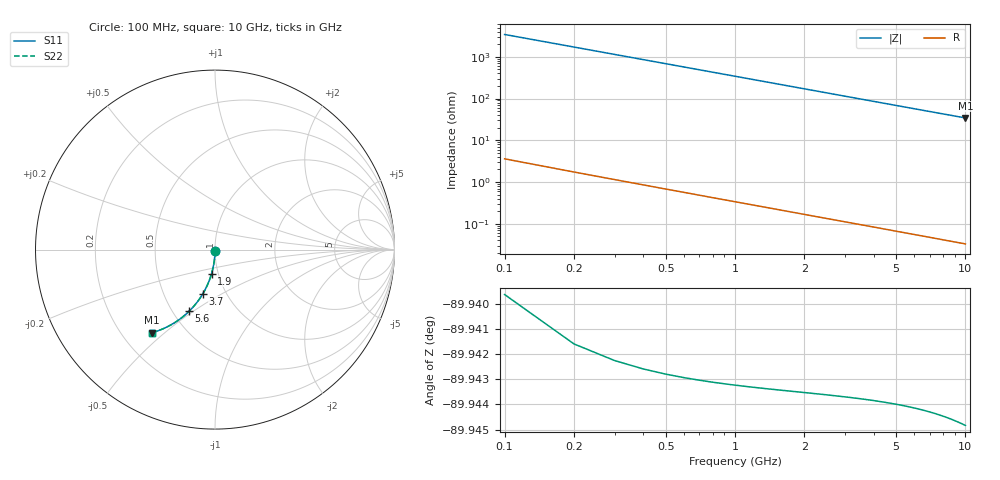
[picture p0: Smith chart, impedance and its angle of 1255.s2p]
# Hz S RI R 50.00
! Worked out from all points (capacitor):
!   100 points, 100 MHz to 10 GHz, reference 50 ohm
!   read as one part in shunt: C = 466 fF near 100 MHz
!   lowest |Z| = 34.3 ohm at 10 GHz (marker M1)
!   S11 on the Smith chart (normalised r, x): 100 MHz: 1.00, -0.01; 1.9 GHz: 0.93, -0.25; 3.7 GHz: 0.78, -0.41; 5.6 GHz: 0.60, -0.48; 10 GHz: 0.32, -0.45
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1e8  -2.68e-05 -0.00719  0.9999 -0.00746  0.9999 -0.00746  -2.68e-05 -0.00719
2e8  -0.000195 -0.0144  0.9997 -0.0149  0.9997 -0.0149  -0.000195 -0.0144
3e8  -0.00047 -0.0216  0.9995 -0.0224  0.9995 -0.0224  -0.00047 -0.0216
4e8  -0.000852 -0.0287  0.9991 -0.0298  0.9991 -0.0298  -0.000852 -0.0287
5e8  -0.00134 -0.0359  0.9986 -0.0372  0.9986 -0.0372  -0.00134 -0.0359
6e8  -0.00194 -0.0431  0.998 -0.0447  0.998 -0.0447  -0.00194 -0.0431
8e8  -0.00344 -0.0573  0.9965 -0.0595  0.9965 -0.0595  -0.00344 -0.0573
9e8  -0.00436 -0.0644  0.9956 -0.0668  0.9956 -0.0668  -0.00436 -0.0644
1.1e9  -0.00649 -0.0786  0.9934 -0.0815  0.9934 -0.0815  -0.00649 -0.0786
1.4e9  -0.0105 -0.0996  0.9895 -0.1034  0.9895 -0.1034  -0.0105 -0.0996
1.8e9  -0.0172 -0.1272  0.9827 -0.132  0.9827 -0.132  -0.0172 -0.1272
1.9e9  -0.0191 -0.134  0.9808 -0.1391  0.9808 -0.1391  -0.0191 -0.134
2.2e9  -0.0254 -0.1541  0.9745 -0.1601  0.9745 -0.1601  -0.0254 -0.1541
2.6e9  -0.0352 -0.1803  0.9647 -0.1874  0.9647 -0.1874  -0.0352 -0.1803
3.4e9  -0.0587 -0.23  0.9412 -0.2392  0.9412 -0.2392  -0.0587 -0.23
3.7e9  -0.0687 -0.2476  0.9311 -0.2576  0.9311 -0.2576  -0.0687 -0.2476
4.4e9  -0.0945 -0.2862  0.9053 -0.2982  0.9053 -0.2982  -0.0945 -0.2862
5.1e9  -0.1231 -0.3211  0.8768 -0.3351  0.8768 -0.3351  -0.1231 -0.3211
5.6e9  -0.1448 -0.3438  0.8551 -0.3591  0.8551 -0.3591  -0.1448 -0.3438
6.7e9  -0.1952 -0.3867  0.8046 -0.4051  0.8046 -0.4051  -0.1952 -0.3867
8.4e9  -0.2763 -0.4352  0.7233 -0.4583  0.7233 -0.4583  -0.2763 -0.4352
1e10  -0.3515 -0.4631  0.648 -0.4909  0.648 -0.4909  -0.3515 -0.4631
